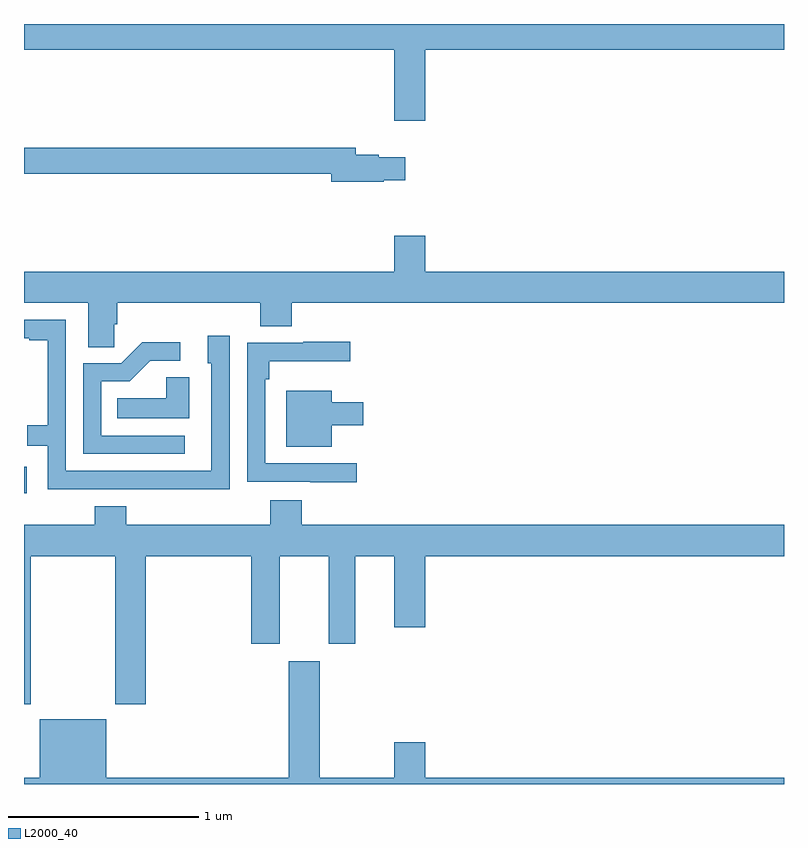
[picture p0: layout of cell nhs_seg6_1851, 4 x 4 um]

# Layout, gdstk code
import gdstk
lib = gdstk.Library(unit=1e-6, precision=1e-09)
def R(c, l, rs):  # rectangles x0, y0, x1, y1
    for r in rs: c.add(gdstk.rectangle(r[:2], r[2:], *l))
def P(c, l, *ps):  # polygons
    for p in ps: c.add(gdstk.Polygon(p, *l))
L2000_40 = (2000, 40)

nhs_seg6_1851 = lib.new_cell('nhs_seg6_1851')
R(nhs_seg6_1851, L2000_40, [(223,917.03,223.015,917.17)])
P(nhs_seg6_1851, L2000_40, [(225.112,919.364),(227,919.364),(227,919.5),(223,919.5),(223,919.364),(224.948,919.364),(224.948,918.99),(225.112,918.99)],
  [(224.894,918.677),(225.007,918.677),(225.007,918.799),(224.868,918.799),(224.868,918.812),(224.746,918.812),(224.746,918.848),(223,918.848),(223,918.712),(224.618,918.712),(224.618,918.67),(224.894,918.67)],
  [(223.475,917.92),(223.49,917.92),(223.49,918.032),(224.243,918.032),(224.243,917.908),(224.408,917.908),(224.408,918.032),(227,918.032),(227,918.196),(225.112,918.196),(225.112,918.385),(224.948,918.385),(224.948,918.196),(223,918.196),(223,918.032),(223.337,918.032),(223.337,917.8),(223.475,917.8)],
  [(224.082,917.86),(223.967,917.86),(223.967,917.715),(223.986,917.715),(223.986,917.148),(223.221,917.148),(223.221,917.943),(223,917.943),(223,917.847),(223.028,917.847),(223.028,917.835),(223.124,917.835),(223.124,917.389),(223.016,917.389),(223.016,917.28),(223.125,917.28),(223.125,917.052),(223.621,917.052),(223.621,917.051),(224.082,917.051)],
  [(224.752,917.187),(224.271,917.187),(224.271,917.63),(224.291,917.63),(224.291,917.726),(224.716,917.726),(224.716,917.827),(224.471,917.827),(224.471,917.823),(224.175,917.823),(224.175,917.091),(224.507,917.091),(224.507,917.087),(224.752,917.087)],
  [(223.846,917.334),(223.407,917.334),(223.407,917.619),(223.557,917.619),(223.665,917.727),(223.822,917.727),(223.822,917.825),(223.622,917.825),(223.512,917.715),(223.311,917.715),(223.311,917.238),(223.846,917.238)],
  [(223.87,917.642),(223.748,917.642),(223.748,917.53),(223.492,917.53),(223.492,917.426),(223.87,917.426)],
  [(224.62,917.387),(224.785,917.387),(224.785,917.509),(224.62,917.509),(224.62,917.569),(224.381,917.569),(224.381,917.276),(224.62,917.276)],
  [(223.035,916.7),(223.48,916.7),(223.48,915.921),(223.64,915.921),(223.64,916.7),(224.195,916.7),(224.195,916.239),(224.347,916.239),(224.347,916.7),(224.603,916.7),(224.603,916.239),(224.743,916.239),(224.743,916.7),(224.948,916.7),(224.948,916.326),(225.112,916.326),(225.112,916.7),(227,916.7),(227,916.864),(224.462,916.864),(224.462,916.993),(224.297,916.993),(224.297,916.864),(223.538,916.864),(223.538,916.963),(223.373,916.963),(223.373,916.864),(223,916.864),(223,915.921),(223.035,915.921)],
  [(225.112,915.721),(224.948,915.721),(224.948,915.532),(224.557,915.532),(224.557,916.147),(224.393,916.147),(224.393,915.532),(223.432,915.532),(223.432,915.841),(223.082,915.841),(223.082,915.532),(223,915.532),(223,915.5),(227,915.5),(227,915.532),(225.112,915.532)])

lib.write_gds('nhs_seg6_1851.gds')
